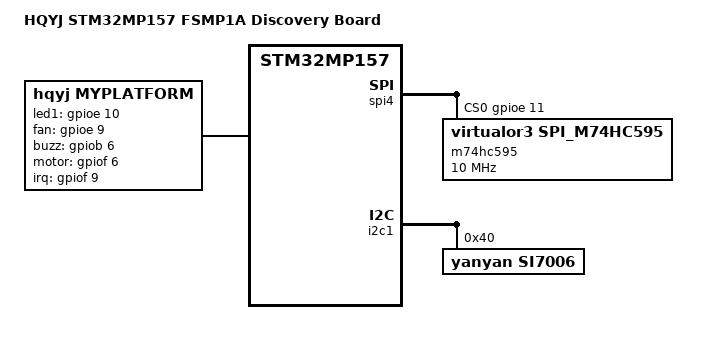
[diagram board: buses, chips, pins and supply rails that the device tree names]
/dts-v1/;
#include "stm32mp157.dtsi"
#include "stm32mp15xa.dtsi"
#include "stm32mp15-pinctrl.dtsi"
#include "stm32mp15xxac-pinctrl.dtsi"
#include "stm32mp15xx-fsmp1x.dtsi" 
/ {
	model = "HQYJ STM32MP157 FSMP1A Discovery Board";
	compatible = "st,stm32mp157a-dk1", "st,stm32mp157";

	aliases {
		serial0 = &uart4;
		serial5 = &usart3;
	};

	chosen {
		stdout-path = "serial0:115200n8";
	};

	reserved-memory {
		gpu_reserved: gpu@d4000000 {
			reg = <0xd4000000 0x4000000>;
			no-map;
		};
		
		optee_memory: optee@0xde000000 {
			reg = <0xde000000 0x02000000>;
			no-map;
		};
	};

	myplatform{
    	compatible = "hqyj,myplatform";
    	interrupt-parent = <&gpiof>;
    	interrupts =<9 0>;
    	led1 = <&gpioe 10 0>;
    	fan = <&gpioe 9 0>;
    	buzz = <&gpiob 6 0>;
    	motor = <&gpiof 6 0>;
	};
};

&spi4{
    pinctrl-names = "default", "sleep";
    pinctrl-0 = <&spi4_pins_b>;
    pinctrl-1 = <&spi4_sleep_pins_b>;
    cs-gpios = <&gpioe 11 0>;
    status = "okay";

    m74hc595@0{
        compatible = "virtualor3,spi_m74hc595";
        reg = <0>;
        spi-max-frequency = <10000000>; //10Mhz
    };
};

&i2c1{
    pinctrl-names = "default", "sleep";
    pinctrl-0 = <&i2c1_pins_b>;
    pinctrl-1 = <&i2c1_sleep_pins_b>;
    i2c-scl-rising-time-ns = <100>;
    i2c-scl-falling-time-ns = <7>;
    status = "okay";                                                                                              
    /delete-property/dmas;      //删除属性
    /delete-property/dma-names;
    
    si7006@40{
        compatible = "yanyan,si7006";
        reg = <0x40>;
    };
};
